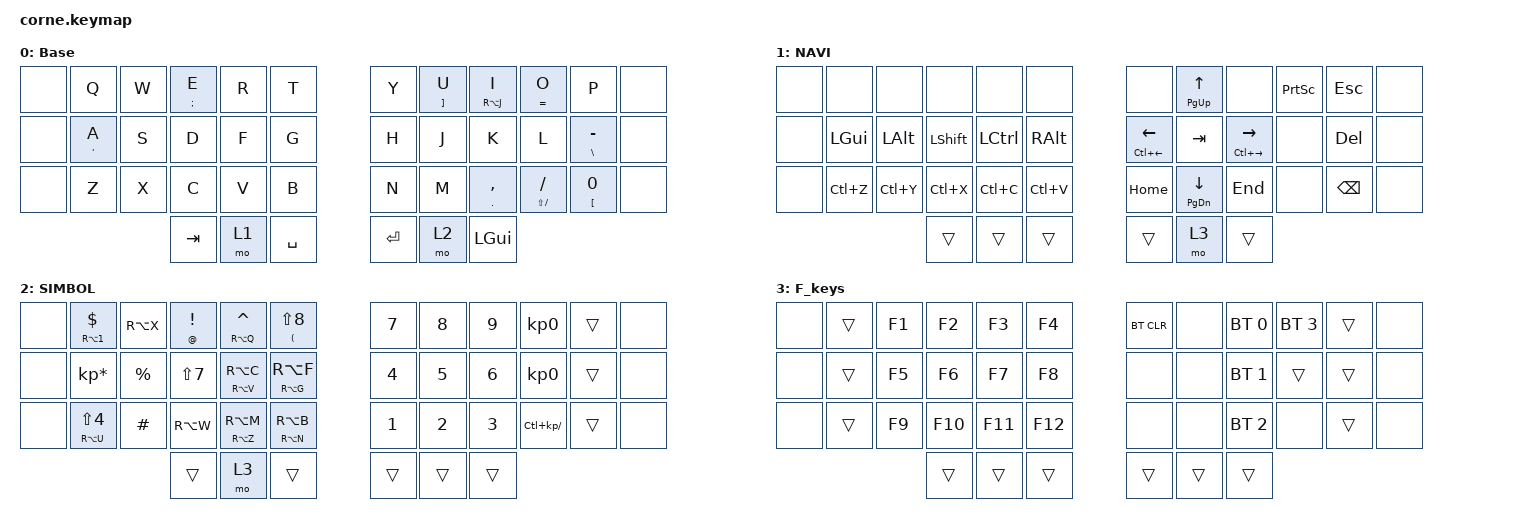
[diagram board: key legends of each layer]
/*
 * Copyright (c) 2020 The ZMK Contributors
 *
 * SPDX-License-Identifier: MIT
 */

#include <behaviors.dtsi>
#include <dt-bindings/zmk/keys.h>
#include <dt-bindings/zmk/bt.h>
/ {
    behaviors {
        hm: homerow_mods {
            compatible = "zmk,behavior-hold-tap";
            label = "HOMEROW_MODS";
            #binding-cells = <2>;
            tapping-term-ms = <250>;
            quick-tap-ms = <0>;
            flavor = "tap-preferred";
            bindings = <&kp>, <&kp>;
        };
    };
        macros {
            ctrl_ctv: ctrl_ctv {
                label = "ctrl_ctv";
                compatible = "zmk,behavior-macro";
                #binding-cells = <0>;
                bindings
                    = <&macro_press &kp LCTRL>
                    , <&macro_tap &kp C &kp T &kp V>
                    , <&macro_release &kp LCTRL>
                    , <&macro_tap &kp RET>
                    ;
            };
        };

        combos{
                compatible = "zmk,combos";
                combo_alt_shift_up {
                    timeout-ms = <50>;
                    key-positions = <6 18>;
                    bindings = <&kp LA(LS(UP_ARROW))>;
                };

                combo_alt_shift_down {
                    timeout-ms = <50>;
                    key-positions = <18 30>;
                    bindings = <&kp LA(LS(DOWN_ARROW))>;
                };

                combo_ctrl_enter {
                    timeout-ms = <50>;
                    key-positions = <6 7>;
                    bindings = <&kp LC(ENTER)>;
                };

                combo_ctrl_f {
                    timeout-ms = <50>;
                    key-positions = <4 5>;
                    bindings = <&kp LC(F)>;
                };
                combo_ctrl_ctv {
                    timeout-ms = <50>;
                    key-positions = <16 17>;
                    bindings = <&ctrl_ctv>;
                };

        };
        
        keymap {
                compatible = "zmk,keymap";

                default_layer { 
                        label = "Base";
                        bindings = <
//          ╭───────────────┬─────────────┬─────────────┬─────────────┬─────────────╮ ╭─────────────┬─────────────┬─────────────────┬───────────────────┬───────────────────╮
//          |  q            |  w          |  e(é)       |  r          |  t          | |  z          |  u(ú)       | i(í)            |  o(ó)             |  p                | 
     &none     &kp Q           &kp W         &hm SEMI E    &kp R         &kp T           &kp Y         &hm RBKT U   &hm RA(J) I        &hm EQUAL O         &kp P               &none      
//          ├───────────────┼─────────────┼─────────────┼─────────────┼─────────────┤ ├─────────────┼─────────────┼─────────────────┼───────────────────┼───────────────────┤
//          |  a (á)        |  s          |  d          |  f          |  g          | |  h          |  j          |  k              |  l                |  ü(ű)             |    
     &none     &hm SQT A       &kp S         &kp D         &kp F         &kp G           &kp H         &kp J         &kp K             &kp L               &hm BSLH MINUS      &none  
//          ├───────────────┼─────────────┼─────────────┼─────────────┼─────────────┤ ├─────────────┼─────────────┼─────────────────┼───────────────────┼───────────────────┤
//          |  y            |  x          |  c          |  v          |  b          | |  n          |  m          |  , (.)          |  - (_)            | ö(ő)              |    
     &none     &kp Z           &kp X         &kp C         &kp V         &kp B           &kp N         &kp M        &hm DOT COMMA     &hm LS(FSLH) FSLH   &hm LBKT NUMBER_0    &none
//          ╰───────────────┴─────────────┼─────────────┼─────────────┼─────────────┤ ├─────────────┼─────────────┼─────────────────┼───────────────────┴───────────────────╯
//                                        |  TAB        |             |  SPACE      | |  ENTER      |             |  GUI            |                           
                                             &kp TAB       &mo 1        &kp SPACE        &kp RET       &mo 2         &kp LGUI
//                                        ╰─────────────┴─────────────┴─────────────╯ ╰─────────────┴─────────────┴─────────────────╯                                         

                        >;
                };


                lower_layer { 
                        label = "NAVI";
                        bindings = <
//        ╭─────────────┬─────────────┬───────────────┬──────────────┬─────────────────╮ ╭────────────────┬───────────────┬────────────────────┬────────────────┬─────────────────╮
//        |             |             |               |              |                 | |                | UP(PAGE UP)   |                    | PRINTSCREEN    | ESC             |    
   &none     &none        &none          &none           &none          &none               &none           &hm PG_UP UP     &none               &kp PRINTSCREEN   &kp ESC           &none
//        ├─────────────┼─────────────┼───────────────┼──────────────┼─────────────────┤ ├────────────────┼───────────────┼────────────────────┼────────────────┼─────────────────┤
//        | win/command | ALT         | SHIFT         |  CTRL        | ALT GR          | |  LEFT(HOME)    |  TAB          | RIGHT(CTRL +R)     |                |  DEL            |    
   &none     &kp LGUI     &kp LALT      &kp LSHIFT       &kp LCTRL     &kp RALT           &hm LC(LEFT) LEFT  &kp TAB        &hm LC(RIGHT) RIGHT   &none            &kp DEL           &none
//        ├─────────────┼─────────────┼───────────────┼──────────────┼─────────────────┤ ├────────────────┼───────────────┼────────────────────┼────────────────┼─────────────────┤
//        |  ctrl + y   | ctrl + z    | ctrl + x      |  ctrl + c    |   ctrl + V      | |   HOME         | DOWN(PG_DN)   |   END              |                |  BSPC           |     
   &none     &kp LC(Z)    &kp LC(Y)     &kp LC(X)        &kp LC(C)       &kp LC(V)           &kp HOME       &hm PG_DN DOWN    &kp END             &none            &kp BSPC          &none
//        ╰─────────────┴─────────────┼───────────────┼──────────────┼─────────────────┤ ├────────────────┼───────────────┼────────────────────┼────────────────┴─────────────────╯
//                                    |               |              |                 | |                |               |                    |   
                                          &trans          &trans         &trans              &trans           &mo 3          &trans   
//                                    ╰───────────────┴──────────────┴─────────────────╯ ╰────────────────┴───────────────┴────────────────────╯                                         

                        >;
                };


                raise_layer { 
                        label = "SIMBOL";
                        bindings = <
//          ╭─────────────────────────────┬─────────────┬─────────────────┬─────────────────┬─────────────────────╮ ╭─────────────┬─────────────┬─────────────┬───────────────────┬─────────────╮
//          |   ! (~)                     |  #          |  ' (")          |    / \          |  ( )                | |  7          |   8         |  9          |  mac 0            |             |     
    &none     &hm RA(N1) DLLR               &kp RA(X)     &hm AT EXCL      &hm RA(Q) CARET  &hm LPAR LS(NUMBER_8)     &kp N7         &kp N8       &kp N9        &kp KP_N0           &trans        &none  
//          ├─────────────────────────────┼─────────────┼─────────────────┼─────────────────┼─────────────────────┤ ├─────────────┼─────────────┼─────────────┼───────────────────┼─────────────┤
//          |  *                          |  %          |  =              |  & (@)          |  [ ]                | |  4          |   5         |  6          |  0                |             |     
    &none     &kp KP_MULTIPLY               &kp PRCNT     &kp LS(N7)       &hm RA(V) RA(C)    &hm RA(G) RA(F)         &kp N4          &kp N5       &kp N6       &kp KP_N0           &trans        &none 
//          ├─────────────────────────────┼─────────────┼─────────────────┼─────────────────┼─────────────────────┤ ├─────────────┼─────────────┼─────────────┼───────────────────┼─────────────┤
//          |  $ (€)                      |  +          |  "|"            |  <>             |  { }                | |  1          |   2         |  3          | ctrl + /          |             |     
    &none     &hm RA(U) LS(N4)               &kp HASH      &kp RA(W)       &hm RA(Z) RA(M)    &hm RA(N) RA(B)          &kp N1         &kp N2       &kp N3       &kp LC(KP_DIVIDE)    &trans        &none   
//          ╰─────────────────────────────┴─────────────┼─────────────────┼─────────────────┼─────────────────────┤ ├─────────────┼─────────────┼─────────────┼───────────────────┴─────────────╯
//                                                      |                 |                 |                     | |             |             |             |     
                                                             &trans              &mo 3           &trans                &trans        &trans        &trans
//                                                      ╰─────────────────┴─────────────────┴─────────────────────╯ ╰─────────────┴─────────────┴─────────────╯                                         
                                                                                                                     
                        >;
                };

                f_keys_layer { 
                        label = "F_keys";
                        bindings = <
//        ╭─────────────┬─────────────┬─────────────┬─────────────┬─────────────╮ ╭─────────────┬─────────────┬──────────────┬─────────────┬─────────────╮
//        |             |  F1         |  F2         |  F3         |  F4         | |bt prof clear|             | BT1          | BT4         |             |   
   &none     &trans        &kp F1        &kp F2        &kp F3        &kp F4         &bt BT_CLR     &none        &bt BT_SEL 0   &bt BT_SEL 3   &trans        &none   
//        ├─────────────┼─────────────┼─────────────┼─────────────┼─────────────┤ ├─────────────┼─────────────┼──────────────┼─────────────┼─────────────┤
//        |             |  F5         |  F6         |  F7         |  F8         | |             |             | BT2          |             |             |   
   &none     &trans        &kp F5        &kp F6        &kp F7        &kp F8          &none         &none        &bt BT_SEL 1   &trans         &trans        &none
//        ├─────────────┼─────────────┼─────────────┼─────────────┼─────────────┤ ├─────────────┼─────────────┼──────────────┼─────────────┼─────────────┤
//        |             |  F9         |  F10        |  F11        |  F12        | |             |             | BT3          |             |             |   
   &none     &trans        &kp F9        &kp F10       &kp F11       &kp F12         &none         &none         &bt BT_SEL 2    &none        &trans        &none
//        ╰─────────────┴─────────────┼─────────────┼─────────────┼─────────────┤ ├─────────────┼─────────────┼──────────────┼─────────────┴─────────────╯
//                                    |             |             |             | |             |             |              |   
                                         &trans        &trans        &trans          &trans        &trans        &trans
//                                    ╰─────────────┴─────────────┴─────────────╯ ╰─────────────┴─────────────┴──────────────╯                                         

                        >;
                };

        };
};
